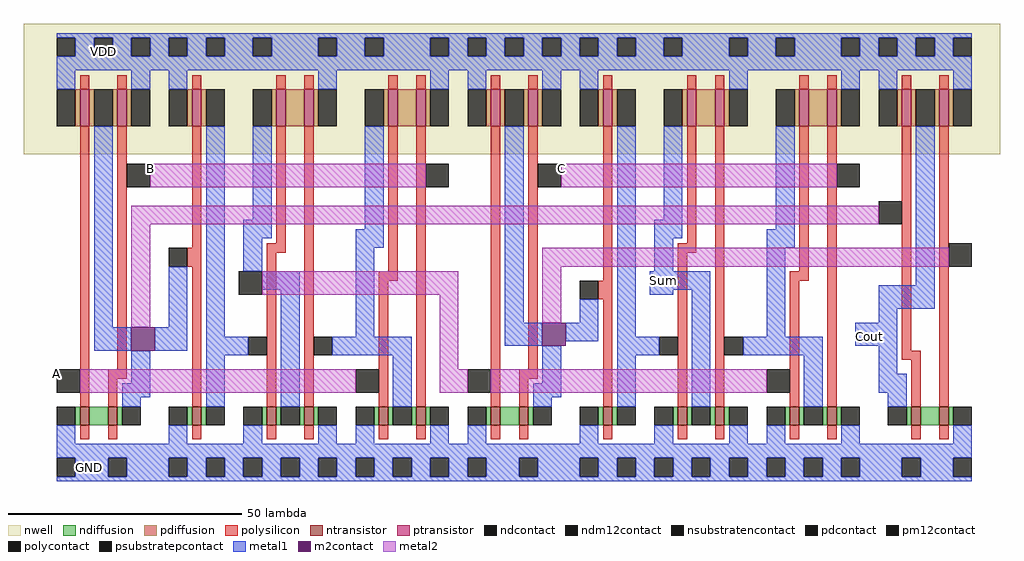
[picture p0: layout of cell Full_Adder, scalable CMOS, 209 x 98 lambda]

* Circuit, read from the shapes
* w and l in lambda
.subckt Full_Adder A B C Cout GND Sum VDD
M1 n1 A GND GND nfet w=4 l=2
M2 n2 B n1 GND nfet w=4 l=2
M3 n3 n2 GND GND nfet w=4 l=2
M4 n4 n3 GND GND nfet w=4 l=2
M5 GND n5 n4 GND nfet w=4 l=2
M6 n5 A GND GND nfet w=4 l=2
M7 GND B n5 GND nfet w=4 l=2
M8 n6 n4 GND GND nfet w=4 l=2
M9 n7 C n6 GND nfet w=4 l=2
M10 n8 n7 GND GND nfet w=4 l=2
M11 Sum n8 GND GND nfet w=4 l=2
M12 GND n9 Sum GND nfet w=4 l=2
M13 n9 n4 GND GND nfet w=4 l=2
M14 GND C n9 GND nfet w=4 l=2
M15 n10 n2 Cout GND nfet w=4 l=2
M16 GND n7 n10 GND nfet w=4 l=2
M17 n2 A VDD VDD pfet w=8 l=2
M18 VDD B n2 VDD pfet w=8 l=2
M19 n3 n2 VDD VDD pfet w=8 l=2
M20 n11 n3 n4 VDD pfet w=8 l=2
M21 VDD n5 n11 VDD pfet w=8 l=2
M22 n12 A n5 VDD pfet w=8 l=2
M23 VDD B n12 VDD pfet w=8 l=2
M24 n7 n4 VDD VDD pfet w=8 l=2
M25 VDD C n7 VDD pfet w=8 l=2
M26 n8 n7 VDD VDD pfet w=8 l=2
M27 n13 n8 Sum VDD pfet w=8 l=2
M28 VDD n9 n13 VDD pfet w=8 l=2
M29 n14 n4 n9 VDD pfet w=8 l=2
M30 VDD C n14 VDD pfet w=8 l=2
M31 Cout n2 VDD VDD pfet w=8 l=2
M32 VDD n7 Cout VDD pfet w=8 l=2
.ends

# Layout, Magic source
magic
tech scmos
<< nwell >>
rect -10 69 199 97
<< ntransistor >>
rect 2 11 4 15
rect 8 11 10 15
rect 26 11 28 15
rect 42 11 44 15
rect 50 11 52 15
rect 66 11 68 15
rect 74 11 76 15
rect 90 11 92 15
rect 96 11 98 15
rect 114 11 116 15
rect 130 11 132 15
rect 138 11 140 15
rect 154 11 156 15
rect 162 11 164 15
rect 180 11 182 15
rect 186 11 188 15
<< ptransistor >>
rect 2 75 4 83
rect 10 75 12 83
rect 26 75 28 83
rect 44 75 46 83
rect 50 75 52 83
rect 68 75 70 83
rect 74 75 76 83
rect 90 75 92 83
rect 98 75 100 83
rect 114 75 116 83
rect 132 75 134 83
rect 138 75 140 83
rect 156 75 158 83
rect 162 75 164 83
rect 178 75 180 83
rect 186 75 188 83
<< ndiffusion >>
rect 1 11 2 15
rect 4 11 8 15
rect 10 11 11 15
rect 25 11 26 15
rect 28 11 29 15
rect 41 11 42 15
rect 44 11 45 15
rect 49 11 50 15
rect 52 11 53 15
rect 65 11 66 15
rect 68 11 69 15
rect 73 11 74 15
rect 76 11 77 15
rect 89 11 90 15
rect 92 11 96 15
rect 98 11 99 15
rect 113 11 114 15
rect 116 11 117 15
rect 129 11 130 15
rect 132 11 133 15
rect 137 11 138 15
rect 140 11 141 15
rect 153 11 154 15
rect 156 11 157 15
rect 161 11 162 15
rect 164 11 165 15
rect 179 11 180 15
rect 182 11 186 15
rect 188 11 189 15
<< pdiffusion >>
rect 1 75 2 83
rect 4 75 5 83
rect 9 75 10 83
rect 12 75 13 83
rect 25 75 26 83
rect 28 75 29 83
rect 43 75 44 83
rect 46 75 50 83
rect 52 75 53 83
rect 67 75 68 83
rect 70 75 74 83
rect 76 75 77 83
rect 89 75 90 83
rect 92 75 93 83
rect 97 75 98 83
rect 100 75 101 83
rect 113 75 114 83
rect 116 75 117 83
rect 131 75 132 83
rect 134 75 138 83
rect 140 75 141 83
rect 155 75 156 83
rect 158 75 162 83
rect 164 75 165 83
rect 177 75 178 83
rect 180 75 181 83
rect 185 75 186 83
rect 188 75 189 83
<< ndcontact >>
rect -3 11 1 15
rect 11 11 15 15
rect 21 11 25 15
rect 29 11 33 15
rect 37 11 41 15
rect 45 11 49 15
rect 53 11 57 15
rect 61 11 65 15
rect 69 11 73 15
rect 77 11 81 15
rect 85 11 89 15
rect 99 11 103 15
rect 109 11 113 15
rect 117 11 121 15
rect 125 11 129 15
rect 133 11 137 15
rect 141 11 145 15
rect 149 11 153 15
rect 157 11 161 15
rect 165 11 169 15
rect 175 11 179 15
rect 189 11 193 15
<< pdcontact >>
rect -3 75 1 83
rect 5 75 9 83
rect 13 75 17 83
rect 21 75 25 83
rect 29 75 33 83
rect 39 75 43 83
rect 53 75 57 83
rect 63 75 67 83
rect 77 75 81 83
rect 85 75 89 83
rect 93 75 97 83
rect 101 75 105 83
rect 109 75 113 83
rect 117 75 121 83
rect 127 75 131 83
rect 141 75 145 83
rect 151 75 155 83
rect 165 75 169 83
rect 173 75 177 83
rect 181 75 185 83
rect 189 75 193 83
<< psubstratepcontact >>
rect -3 0 1 4
rect 8 0 12 4
rect 21 0 25 4
rect 29 0 33 4
rect 37 0 41 4
rect 45 0 49 4
rect 53 0 57 4
rect 61 0 65 4
rect 69 0 73 4
rect 77 0 81 4
rect 85 0 89 4
rect 96 0 100 4
rect 109 0 113 4
rect 117 0 121 4
rect 125 0 129 4
rect 133 0 137 4
rect 141 0 145 4
rect 149 0 153 4
rect 157 0 161 4
rect 165 0 169 4
rect 178 0 182 4
rect 189 0 193 4
<< nsubstratencontact >>
rect -3 90 1 94
rect 5 90 9 94
rect 13 90 17 94
rect 21 90 25 94
rect 29 90 33 94
rect 39 90 43 94
rect 53 90 57 94
rect 63 90 67 94
rect 77 90 81 94
rect 85 90 89 94
rect 93 90 97 94
rect 101 90 105 94
rect 109 90 113 94
rect 117 90 121 94
rect 127 90 131 94
rect 141 90 145 94
rect 151 90 155 94
rect 165 90 169 94
rect 173 90 177 94
rect 181 90 185 94
rect 189 90 193 94
<< polysilicon >>
rect 2 83 4 86
rect 10 83 12 86
rect 26 83 28 86
rect 44 83 46 86
rect 50 83 52 86
rect 68 83 70 86
rect 74 83 76 86
rect 90 83 92 86
rect 98 83 100 86
rect 114 83 116 86
rect 132 83 134 86
rect 138 83 140 86
rect 156 83 158 86
rect 162 83 164 86
rect 178 83 180 86
rect 186 83 188 86
rect 2 15 4 75
rect 10 23 12 75
rect 26 49 28 75
rect 44 50 46 75
rect 25 45 28 49
rect 8 21 12 23
rect 8 15 10 21
rect 26 15 28 45
rect 42 48 46 50
rect 42 15 44 48
rect 50 15 52 75
rect 68 44 70 75
rect 66 42 70 44
rect 66 15 68 42
rect 74 15 76 75
rect 90 15 92 75
rect 98 23 100 75
rect 114 42 116 75
rect 132 50 134 75
rect 113 38 116 42
rect 96 21 100 23
rect 96 15 98 21
rect 114 15 116 38
rect 130 48 134 50
rect 130 15 132 48
rect 138 15 140 75
rect 156 44 158 75
rect 154 42 158 44
rect 154 15 156 42
rect 162 15 164 75
rect 178 27 180 75
rect 178 25 182 27
rect 180 15 182 25
rect 186 15 188 75
rect 2 8 4 11
rect 8 8 10 11
rect 26 8 28 11
rect 42 8 44 11
rect 50 8 52 11
rect 66 8 68 11
rect 74 8 76 11
rect 90 8 92 11
rect 96 8 98 11
rect 114 8 116 11
rect 130 8 132 11
rect 138 8 140 11
rect 154 8 156 11
rect 162 8 164 11
rect 180 8 182 11
rect 186 8 188 11
<< polycontact >>
rect 21 45 25 49
rect 38 26 42 30
rect 52 26 56 30
rect 109 38 113 42
rect 126 26 130 30
rect 140 26 144 30
<< metal1 >>
rect -3 94 193 95
rect 1 90 5 94
rect 9 90 13 94
rect 17 90 21 94
rect 25 90 29 94
rect 33 90 39 94
rect 43 90 53 94
rect 57 90 63 94
rect 67 90 77 94
rect 81 90 85 94
rect 89 90 93 94
rect 97 90 101 94
rect 105 90 109 94
rect 113 90 117 94
rect 121 90 127 94
rect 131 90 141 94
rect 145 90 151 94
rect 155 90 165 94
rect 169 90 173 94
rect 177 90 181 94
rect 185 90 189 94
rect -3 87 193 90
rect -3 83 1 87
rect 13 83 17 87
rect 21 83 25 87
rect 53 83 57 87
rect 77 83 81 87
rect 5 32 9 75
rect 21 32 25 45
rect 5 27 13 32
rect 18 27 25 32
rect 29 30 33 75
rect 85 83 89 87
rect 101 83 105 87
rect 109 83 113 87
rect 141 83 145 87
rect 165 83 169 87
rect 39 55 43 75
rect 37 51 43 55
rect 63 53 67 75
rect 37 44 41 51
rect 61 49 67 53
rect 41 40 49 44
rect 13 20 17 27
rect 11 17 17 20
rect 29 26 38 30
rect 11 15 15 17
rect 29 15 33 26
rect 45 15 49 40
rect 61 30 65 49
rect 93 33 97 75
rect 109 33 113 38
rect 56 26 73 30
rect 93 28 101 33
rect 106 29 113 33
rect 117 30 121 75
rect 173 83 177 87
rect 189 83 193 87
rect 127 55 131 75
rect 125 51 131 55
rect 151 53 155 75
rect 125 44 129 51
rect 149 49 155 53
rect 124 40 137 44
rect 124 39 129 40
rect 69 15 73 26
rect 101 20 105 28
rect 99 17 105 20
rect 117 26 126 30
rect 99 15 103 17
rect 117 15 121 26
rect 133 15 137 40
rect 149 30 153 49
rect 181 41 185 75
rect 173 36 185 41
rect 173 33 177 36
rect 144 26 161 30
rect 168 28 177 33
rect 157 15 161 26
rect 173 22 177 28
rect 173 18 179 22
rect 175 15 179 18
rect -3 7 1 11
rect 21 7 25 11
rect 37 7 41 11
rect 53 7 57 11
rect 61 7 65 11
rect 77 7 81 11
rect 85 7 89 11
rect 109 7 113 11
rect 125 7 129 11
rect 141 7 145 11
rect 149 7 153 11
rect 165 7 169 11
rect 189 7 193 11
rect -3 4 193 7
rect 1 0 8 4
rect 12 0 21 4
rect 25 0 29 4
rect 33 0 37 4
rect 41 0 45 4
rect 49 0 53 4
rect 57 0 61 4
rect 65 0 69 4
rect 73 0 77 4
rect 81 0 85 4
rect 89 0 96 4
rect 100 0 109 4
rect 113 0 117 4
rect 121 0 125 4
rect 129 0 133 4
rect 137 0 141 4
rect 145 0 149 4
rect 153 0 157 4
rect 161 0 165 4
rect 169 0 178 4
rect 182 0 189 4
rect -3 -1 193 0
<< m2contact >>
rect 13 27 18 32
rect 101 28 106 33
<< pm12contact >>
rect 12 62 17 67
rect 76 62 81 67
rect -3 18 2 23
rect 100 62 105 67
rect 164 62 169 67
rect 173 54 178 59
rect 61 18 66 23
rect 85 18 90 23
rect 188 45 193 50
rect 149 18 154 23
<< ndm12contact >>
rect 36 39 41 44
<< metal2 >>
rect 17 62 76 67
rect 105 62 164 67
rect 13 54 173 58
rect 13 32 17 54
rect 101 45 188 49
rect 41 39 83 44
rect 79 23 83 39
rect 101 33 105 45
rect 2 18 61 23
rect 79 18 85 23
rect 90 18 149 23
<< labels >>
rlabel nwell -3 87 17 95 1 VDD
rlabel metal2 17 65 17 67 1 B
rlabel metal2 -3 21 -3 23 1 A
rlabel metal1 4 2 4 2 1 GND
rlabel metal2 105 65 105 67 1 C
rlabel metal1 127 42 127 42 1 Sum
rlabel metal1 171 30 171 30 1 Cout
<< end >>
